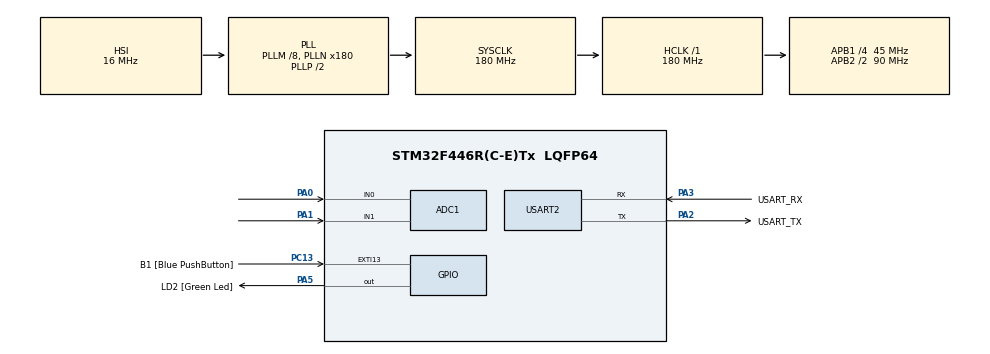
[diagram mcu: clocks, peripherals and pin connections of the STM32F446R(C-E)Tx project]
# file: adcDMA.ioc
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ADC1.Channel-7\#ChannelRegularConversion=ADC_CHANNEL_0
ADC1.Channel-8\#ChannelRegularConversion=ADC_CHANNEL_1
ADC1.Channel-9\#ChannelRegularConversion=ADC_CHANNEL_TEMPSENSOR
ADC1.ContinuousConvMode=ENABLE
ADC1.DMAContinuousRequests=ENABLE
ADC1.NbrOfConversion=3
ADC1.NbrOfConversionFlag=1
ADC1.Rank-7\#ChannelRegularConversion=1
ADC1.Rank-8\#ChannelRegularConversion=2
ADC1.Rank-9\#ChannelRegularConversion=3
ADC1.SamplingTime-7\#ChannelRegularConversion=ADC_SAMPLETIME_480CYCLES
ADC1.SamplingTime-8\#ChannelRegularConversion=ADC_SAMPLETIME_480CYCLES
ADC1.SamplingTime-9\#ChannelRegularConversion=ADC_SAMPLETIME_480CYCLES
ADC1.ScanConvMode=ENABLE
ADC1.master=1
Dma.ADC1.0.Direction=DMA_PERIPH_TO_MEMORY
Dma.ADC1.0.FIFOMode=DMA_FIFOMODE_DISABLE
Dma.ADC1.0.Instance=DMA2_Stream0
Dma.ADC1.0.MemDataAlignment=DMA_MDATAALIGN_HALFWORD
Dma.ADC1.0.MemInc=DMA_MINC_ENABLE
Dma.ADC1.0.Mode=DMA_CIRCULAR
Dma.ADC1.0.PeriphDataAlignment=DMA_PDATAALIGN_HALFWORD
Dma.ADC1.0.PeriphInc=DMA_PINC_DISABLE
Dma.ADC1.0.Priority=DMA_PRIORITY_LOW
Dma.Request0=ADC1
Mcu.Family=STM32F4
Mcu.Name=STM32F446R(C-E)Tx
Mcu.Package=LQFP64
NVIC.DMA2_Stream0_IRQn=true\:0\:0\:false\:false\:true\:false\:true\:true
NVIC.PriorityGroup=NVIC_PRIORITYGROUP_0
PA0-WKUP.Signal=ADCx_IN0
PA1.Signal=ADCx_IN1
PA13.GPIO_Label=TMS
PA13.Mode=Trace_Asynchronous_SW
PA13.Signal=SYS_JTMS-SWDIO
PA14.GPIO_Label=TCK
PA14.Mode=Trace_Asynchronous_SW
PA14.Signal=SYS_JTCK-SWCLK
PA2.GPIO_Label=USART_TX
PA2.Mode=Asynchronous
PA2.Signal=USART2_TX
PA3.GPIO_Label=USART_RX
PA3.Mode=Asynchronous
PA3.Signal=USART2_RX
PA5.GPIO_Label=LD2 [Green Led]
PA5.Signal=GPIO_Output
PB3.GPIO_Label=SWO
PB3.Mode=Trace_Asynchronous_SW
PB3.Signal=SYS_JTDO-SWO
PC13.GPIO_Label=B1 [Blue PushButton]
PC13.GPIO_ModeDefaultEXTI=GPIO_MODE_IT_FALLING
PC13.Signal=GPXTI13
PC14-OSC32_IN.Mode=LSE-External-Oscillator
PC14-OSC32_IN.Signal=RCC_OSC32_IN
PC15-OSC32_OUT.Mode=LSE-External-Oscillator
PC15-OSC32_OUT.Signal=RCC_OSC32_OUT
PH0-OSC_IN.Mode=HSE-External-Oscillator
PH0-OSC_IN.Signal=RCC_OSC_IN
PH1-OSC_OUT.Mode=HSE-External-Oscillator
PH1-OSC_OUT.Signal=RCC_OSC_OUT
ProjectManager.HeapSize=0x200
ProjectManager.StackSize=0x400
ProjectManager.TargetToolchain=STM32CubeIDE
RCC.48MHZClocksFreq_Value=84000000
RCC.AHBFreq_Value=180000000
RCC.APB1CLKDivider=RCC_HCLK_DIV4
RCC.APB1Freq_Value=45000000
RCC.APB1TimFreq_Value=90000000
RCC.APB2CLKDivider=RCC_HCLK_DIV2
RCC.APB2Freq_Value=90000000
RCC.APB2TimFreq_Value=180000000
RCC.CortexFreq_Value=180000000
RCC.FLatency-AdvancedSettings=FLASH_LATENCY_5
RCC.HCLKFreq_Value=180000000
RCC.HSE_VALUE=8000000
RCC.HSI_VALUE=16000000
RCC.PLLM=8
RCC.PLLN=180
RCC.SYSCLKFreq_VALUE=180000000
RCC.SYSCLKSource=RCC_SYSCLKSOURCE_PLLCLK
RCC.USBFreq_Value=180000000
RCC.VCOOutputFreq_Value=360000000
SH.ADCx_IN0.0=ADC1_IN0,IN0
SH.ADCx_IN1.0=ADC1_IN1,IN1
USART2.VirtualMode=VM_ASYNC
VP_ADC1_TempSens_Input.Mode=IN-TempSens
board=NUCLEO-F446RE

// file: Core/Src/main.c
/* USER CODE BEGIN Header */
/**
 ******************************************************************************
 * @file           : main.c
 * @brief          : Main program body
 ******************************************************************************
 * @attention
 *
 * Copyright (c) 2026 STMicroelectronics.
 * All rights reserved.
 *
 * This software is licensed under terms that can be found in the LICENSE file
 * in the root directory of this software component.
 * If no LICENSE file comes with this software, it is provided AS-IS.
 *
 ******************************************************************************
 */
/* USER CODE END Header */
#include "main.h"

/* USER CODE BEGIN Includes */
#include <stdio.h>
/* USER CODE END Includes */

ADC_HandleTypeDef hadc1;
DMA_HandleTypeDef hdma_adc1;

UART_HandleTypeDef huart2;

/* USER CODE BEGIN PV */

volatile uint16_t adcBuffer[3]; // Buffer to hold ADC values for 3 channels

/* USER CODE END PV */

void SystemClock_Config(void);
static void MX_GPIO_Init(void);
static void MX_DMA_Init(void);
static void MX_ADC1_Init(void);
static void MX_USART2_UART_Init(void);
/* USER CODE BEGIN PFP */
float analogToTemperature(unsigned int rawVal);
float analogToVoltage(unsigned int rawVal);

/* USER CODE END PFP */

/* USER CODE BEGIN 0 */
float analogToTemperature(unsigned int rawVal) {
	// Convert raw ADC value from the internal temperature sensor into °C
	// Formula:
	//  - rawVal / 4095.0   → normalize 12-bit ADC (0..4095) to 0..1
	//  - * 3.3             → convert to voltage (assuming Vref = 3.3V)
	//  - - 0.76            → subtract voltage at 25 °C (typical = 0.76 V)
	//  - / 0.0025          → divide by slope (2.5 mV/°C)
	//  - + 25              → add reference temperature (25 °C)
	return ((((rawVal / 4095.0) * 3.3) - 0.76) / 0.0025) + 25;
}

float analogToVoltage(unsigned int rawVal) {
	// Convert the raw ADC value to voltage
	// Assuming a 12-bit ADC with a reference voltage of 3.3V
	return ((float) rawVal) * 3.3 / 4095;
}
/* USER CODE END 0 */

int main(void) {

	/* MCU Configuration--------------------------------------------------------*/

	/* Reset of all peripherals, Initializes the Flash interface and the Systick. */
	HAL_Init();

	/* Configure the system clock */
	SystemClock_Config();

	/* Initialize all configured peripherals */
	MX_GPIO_Init();
	MX_DMA_Init();
	MX_ADC1_Init();
	MX_USART2_UART_Init();
	/* USER CODE BEGIN 2 */

	HAL_ADC_Start_DMA(&hadc1, (uint32_t*) adcBuffer, 3); // Start ADC in DMA mode with a buffer of size 3

	/* USER CODE END 2 */

	/* Infinite loop */
	while (1) {

		/* USER CODE BEGIN 3 */
		float pot0Voltage = analogToVoltage(adcBuffer[0]);
		float pot1Voltage = analogToVoltage(adcBuffer[1]);
		float temperature = analogToTemperature(adcBuffer[2]);

		printf(
				"pot0Voltage: %.2f V, pot1Voltage: %.2f V, temperature: %.2f °C\r\n",
				pot0Voltage, pot1Voltage, temperature);
		HAL_Delay(1000); // Delay for 1 second before printing values again

	}
	/* USER CODE END 3 */
}

void SystemClock_Config(void) {
	RCC_OscInitTypeDef RCC_OscInitStruct = { 0 };
	RCC_ClkInitTypeDef RCC_ClkInitStruct = { 0 };

	/** Configure the main internal regulator output voltage
	 */
	__HAL_RCC_PWR_CLK_ENABLE();
	__HAL_PWR_VOLTAGESCALING_CONFIG(PWR_REGULATOR_VOLTAGE_SCALE1);

	/** Initializes the RCC Oscillators according to the specified parameters
	 * in the RCC_OscInitTypeDef structure.
	 */
	RCC_OscInitStruct.OscillatorType = RCC_OSCILLATORTYPE_HSI;
	RCC_OscInitStruct.HSIState = RCC_HSI_ON;
	RCC_OscInitStruct.HSICalibrationValue = RCC_HSICALIBRATION_DEFAULT;
	RCC_OscInitStruct.PLL.PLLState = RCC_PLL_ON;
	RCC_OscInitStruct.PLL.PLLSource = RCC_PLLSOURCE_HSI;
	RCC_OscInitStruct.PLL.PLLM = 8;
	RCC_OscInitStruct.PLL.PLLN = 180;
	RCC_OscInitStruct.PLL.PLLP = RCC_PLLP_DIV2;
	RCC_OscInitStruct.PLL.PLLQ = 2;
	RCC_OscInitStruct.PLL.PLLR = 2;
	if (HAL_RCC_OscConfig(&RCC_OscInitStruct) != HAL_OK) {
		Error_Handler();
	}

	/** Activate the Over-Drive mode
	 */
	if (HAL_PWREx_EnableOverDrive() != HAL_OK) {
		Error_Handler();
	}

	/** Initializes the CPU, AHB and APB buses clocks
	 */
	RCC_ClkInitStruct.ClockType = RCC_CLOCKTYPE_HCLK | RCC_CLOCKTYPE_SYSCLK
			| RCC_CLOCKTYPE_PCLK1 | RCC_CLOCKTYPE_PCLK2;
	RCC_ClkInitStruct.SYSCLKSource = RCC_SYSCLKSOURCE_PLLCLK;
	RCC_ClkInitStruct.AHBCLKDivider = RCC_SYSCLK_DIV1;
	RCC_ClkInitStruct.APB1CLKDivider = RCC_HCLK_DIV4;
	RCC_ClkInitStruct.APB2CLKDivider = RCC_HCLK_DIV2;

	if (HAL_RCC_ClockConfig(&RCC_ClkInitStruct, FLASH_LATENCY_5) != HAL_OK) {
		Error_Handler();
	}
}

static void MX_ADC1_Init(void) {

	ADC_ChannelConfTypeDef sConfig = { 0 };

	/** Configure the global features of the ADC (Clock, Resolution, Data Alignment and number of conversion)
	 */
	hadc1.Instance = ADC1;
	hadc1.Init.ClockPrescaler = ADC_CLOCK_SYNC_PCLK_DIV4;
	hadc1.Init.Resolution = ADC_RESOLUTION_12B;
	hadc1.Init.ScanConvMode = ENABLE;
	hadc1.Init.ContinuousConvMode = ENABLE;
	hadc1.Init.DiscontinuousConvMode = DISABLE;
	hadc1.Init.ExternalTrigConvEdge = ADC_EXTERNALTRIGCONVEDGE_NONE;
	hadc1.Init.ExternalTrigConv = ADC_SOFTWARE_START;
	hadc1.Init.DataAlign = ADC_DATAALIGN_RIGHT;
	hadc1.Init.NbrOfConversion = 3;
	hadc1.Init.DMAContinuousRequests = ENABLE;
	hadc1.Init.EOCSelection = ADC_EOC_SINGLE_CONV;
	if (HAL_ADC_Init(&hadc1) != HAL_OK) {
		Error_Handler();
	}

	/** Configure for the selected ADC regular channel its corresponding rank in the sequencer and its sample time.
	 */
	sConfig.Channel = ADC_CHANNEL_0;
	sConfig.Rank = 1;
	sConfig.SamplingTime = ADC_SAMPLETIME_480CYCLES;
	if (HAL_ADC_ConfigChannel(&hadc1, &sConfig) != HAL_OK) {
		Error_Handler();
	}

	/** Configure for the selected ADC regular channel its corresponding rank in the sequencer and its sample time.
	 */
	sConfig.Channel = ADC_CHANNEL_1;
	sConfig.Rank = 2;
	if (HAL_ADC_ConfigChannel(&hadc1, &sConfig) != HAL_OK) {
		Error_Handler();
	}

	/** Configure for the selected ADC regular channel its corresponding rank in the sequencer and its sample time.
	 */
	sConfig.Channel = ADC_CHANNEL_TEMPSENSOR;
	sConfig.Rank = 3;
	if (HAL_ADC_ConfigChannel(&hadc1, &sConfig) != HAL_OK) {
		Error_Handler();
	}

}

static void MX_USART2_UART_Init(void) {

	huart2.Instance = USART2;
	huart2.Init.BaudRate = 115200;
	huart2.Init.WordLength = UART_WORDLENGTH_8B;
	huart2.Init.StopBits = UART_STOPBITS_1;
	huart2.Init.Parity = UART_PARITY_NONE;
	huart2.Init.Mode = UART_MODE_TX_RX;
	huart2.Init.HwFlowCtl = UART_HWCONTROL_NONE;
	huart2.Init.OverSampling = UART_OVERSAMPLING_16;
	if (HAL_UART_Init(&huart2) != HAL_OK) {
		Error_Handler();
	}

}

static void MX_DMA_Init(void) {

	/* DMA controller clock enable */
	__HAL_RCC_DMA2_CLK_ENABLE();

	/* DMA interrupt init */
	/* DMA2_Stream0_IRQn interrupt configuration */
	HAL_NVIC_SetPriority(DMA2_Stream0_IRQn, 0, 0);
	HAL_NVIC_EnableIRQ(DMA2_Stream0_IRQn);

}

static void MX_GPIO_Init(void) {
	GPIO_InitTypeDef GPIO_InitStruct = { 0 };

	/* GPIO Ports Clock Enable */
	__HAL_RCC_GPIOC_CLK_ENABLE();
	__HAL_RCC_GPIOH_CLK_ENABLE();
	__HAL_RCC_GPIOA_CLK_ENABLE();
	__HAL_RCC_GPIOB_CLK_ENABLE();

	/*Configure GPIO pin Output Level */
	HAL_GPIO_WritePin(LD2_GPIO_Port, LD2_Pin, GPIO_PIN_RESET);

	/*Configure GPIO pin : B1_Pin */
	GPIO_InitStruct.Pin = B1_Pin;
	GPIO_InitStruct.Mode = GPIO_MODE_IT_FALLING;
	GPIO_InitStruct.Pull = GPIO_NOPULL;
	HAL_GPIO_Init(B1_GPIO_Port, &GPIO_InitStruct);

	/*Configure GPIO pin : LD2_Pin */
	GPIO_InitStruct.Pin = LD2_Pin;
	GPIO_InitStruct.Mode = GPIO_MODE_OUTPUT_PP;
	GPIO_InitStruct.Pull = GPIO_NOPULL;
	GPIO_InitStruct.Speed = GPIO_SPEED_FREQ_LOW;
	HAL_GPIO_Init(LD2_GPIO_Port, &GPIO_InitStruct);

}

/* USER CODE BEGIN 4 */
int __io_putchar(int ch) {
	ITM_SendChar(ch);
	return ch;
}
/* USER CODE END 4 */

void Error_Handler(void) {
	__disable_irq();
	while (1) {
	}
}
